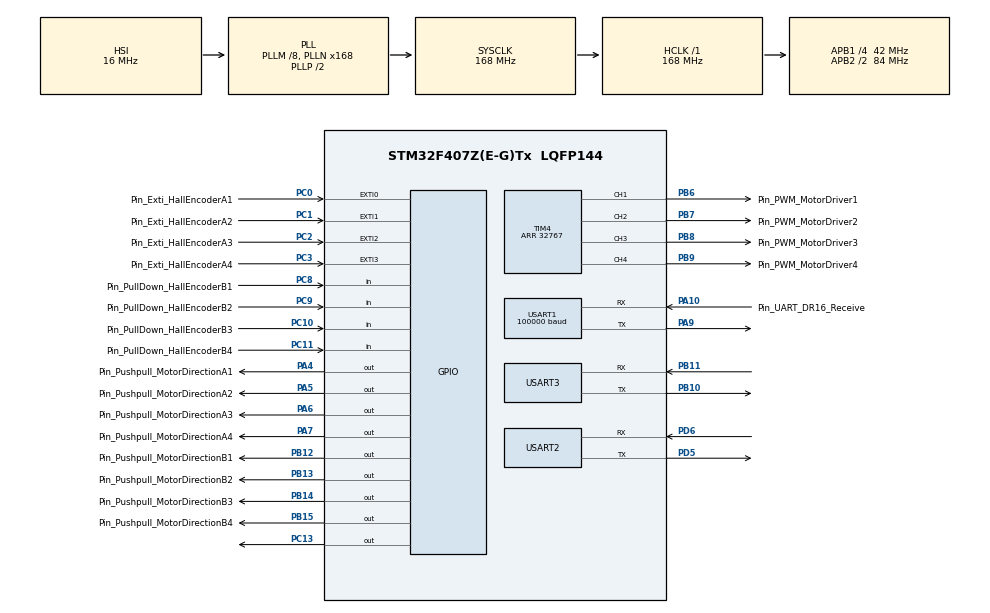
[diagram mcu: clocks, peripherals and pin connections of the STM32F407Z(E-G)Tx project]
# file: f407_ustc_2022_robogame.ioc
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Dma.Request0=USART1_RX
Dma.Request1=USART2_RX
Dma.Request2=USART2_TX
Dma.Request3=USART3_RX
Dma.Request4=USART3_TX
Dma.USART1_RX.0.Direction=DMA_PERIPH_TO_MEMORY
Dma.USART1_RX.0.FIFOMode=DMA_FIFOMODE_DISABLE
Dma.USART1_RX.0.Instance=DMA2_Stream2
Dma.USART1_RX.0.MemDataAlignment=DMA_MDATAALIGN_BYTE
Dma.USART1_RX.0.MemInc=DMA_MINC_ENABLE
Dma.USART1_RX.0.Mode=DMA_CIRCULAR
Dma.USART1_RX.0.PeriphDataAlignment=DMA_PDATAALIGN_BYTE
Dma.USART1_RX.0.PeriphInc=DMA_PINC_DISABLE
Dma.USART1_RX.0.Priority=DMA_PRIORITY_LOW
Dma.USART2_RX.1.Direction=DMA_PERIPH_TO_MEMORY
Dma.USART2_RX.1.FIFOMode=DMA_FIFOMODE_DISABLE
Dma.USART2_RX.1.Instance=DMA1_Stream5
Dma.USART2_RX.1.MemDataAlignment=DMA_MDATAALIGN_BYTE
Dma.USART2_RX.1.MemInc=DMA_MINC_ENABLE
Dma.USART2_RX.1.Mode=DMA_NORMAL
Dma.USART2_RX.1.PeriphDataAlignment=DMA_PDATAALIGN_BYTE
Dma.USART2_RX.1.PeriphInc=DMA_PINC_DISABLE
Dma.USART2_RX.1.Priority=DMA_PRIORITY_LOW
Dma.USART2_TX.2.Direction=DMA_MEMORY_TO_PERIPH
Dma.USART2_TX.2.FIFOMode=DMA_FIFOMODE_DISABLE
Dma.USART2_TX.2.Instance=DMA1_Stream6
Dma.USART2_TX.2.MemDataAlignment=DMA_MDATAALIGN_BYTE
Dma.USART2_TX.2.MemInc=DMA_MINC_ENABLE
Dma.USART2_TX.2.Mode=DMA_NORMAL
Dma.USART2_TX.2.PeriphDataAlignment=DMA_PDATAALIGN_BYTE
Dma.USART2_TX.2.PeriphInc=DMA_PINC_DISABLE
Dma.USART2_TX.2.Priority=DMA_PRIORITY_LOW
Dma.USART3_RX.3.Direction=DMA_PERIPH_TO_MEMORY
Dma.USART3_RX.3.FIFOMode=DMA_FIFOMODE_DISABLE
Dma.USART3_RX.3.Instance=DMA1_Stream1
Dma.USART3_RX.3.MemDataAlignment=DMA_MDATAALIGN_BYTE
Dma.USART3_RX.3.MemInc=DMA_MINC_ENABLE
Dma.USART3_RX.3.Mode=DMA_NORMAL
Dma.USART3_RX.3.PeriphDataAlignment=DMA_PDATAALIGN_BYTE
Dma.USART3_RX.3.PeriphInc=DMA_PINC_DISABLE
Dma.USART3_RX.3.Priority=DMA_PRIORITY_LOW
Dma.USART3_TX.4.Direction=DMA_MEMORY_TO_PERIPH
Dma.USART3_TX.4.FIFOMode=DMA_FIFOMODE_DISABLE
Dma.USART3_TX.4.Instance=DMA1_Stream3
Dma.USART3_TX.4.MemDataAlignment=DMA_MDATAALIGN_BYTE
Dma.USART3_TX.4.MemInc=DMA_MINC_ENABLE
Dma.USART3_TX.4.Mode=DMA_NORMAL
Dma.USART3_TX.4.PeriphDataAlignment=DMA_PDATAALIGN_BYTE
Dma.USART3_TX.4.PeriphInc=DMA_PINC_DISABLE
Dma.USART3_TX.4.Priority=DMA_PRIORITY_LOW
Mcu.Family=STM32F4
Mcu.Name=STM32F407Z(E-G)Tx
Mcu.Package=LQFP144
NVIC.DMA1_Stream1_IRQn=true\:0\:0\:false\:false\:true\:false\:true\:true
NVIC.DMA1_Stream3_IRQn=true\:0\:0\:false\:false\:true\:false\:true\:true
NVIC.DMA1_Stream5_IRQn=true\:0\:0\:false\:false\:true\:false\:true\:true
NVIC.DMA1_Stream6_IRQn=true\:0\:0\:false\:false\:true\:false\:true\:true
NVIC.DMA2_Stream2_IRQn=true\:0\:0\:false\:false\:true\:false\:true\:true
NVIC.EXTI0_IRQn=true\:0\:0\:false\:false\:true\:true\:true\:true
NVIC.EXTI1_IRQn=true\:0\:0\:false\:false\:true\:true\:true\:true
NVIC.EXTI2_IRQn=true\:0\:0\:false\:false\:true\:true\:true\:true
NVIC.EXTI3_IRQn=true\:0\:0\:false\:false\:true\:true\:true\:true
NVIC.PriorityGroup=NVIC_PRIORITYGROUP_4
NVIC.TIM5_IRQn=true\:0\:0\:false\:false\:true\:true\:true\:true
NVIC.USART1_IRQn=true\:0\:0\:false\:false\:true\:true\:true\:true
NVIC.USART2_IRQn=true\:0\:0\:false\:false\:true\:true\:true\:true
NVIC.USART3_IRQn=true\:0\:0\:false\:false\:true\:true\:true\:true
PA10.GPIO_Label=Pin_UART_DR16_Receive
PA10.Mode=Asynchronous
PA10.Signal=USART1_RX
PA13.Mode=Serial_Wire
PA13.Signal=SYS_JTMS-SWDIO
PA14.Mode=Serial_Wire
PA14.Signal=SYS_JTCK-SWCLK
PA4.GPIO_Label=Pin_Pushpull_MotorDirectionA1
PA4.Signal=GPIO_Output
PA5.GPIO_Label=Pin_Pushpull_MotorDirectionA2
PA5.Signal=GPIO_Output
PA6.GPIO_Label=Pin_Pushpull_MotorDirectionA3
PA6.Signal=GPIO_Output
PA7.GPIO_Label=Pin_Pushpull_MotorDirectionA4
PA7.Signal=GPIO_Output
PA9.Mode=Asynchronous
PA9.Signal=USART1_TX
PB10.Mode=Asynchronous
PB10.Signal=USART3_TX
PB11.Mode=Asynchronous
PB11.Signal=USART3_RX
PB12.GPIO_Label=Pin_Pushpull_MotorDirectionB1
PB12.Signal=GPIO_Output
PB13.GPIO_Label=Pin_Pushpull_MotorDirectionB2
PB13.Signal=GPIO_Output
PB14.GPIO_Label=Pin_Pushpull_MotorDirectionB3
PB14.Signal=GPIO_Output
PB15.GPIO_Label=Pin_Pushpull_MotorDirectionB4
PB15.Signal=GPIO_Output
PB6.GPIO_Label=Pin_PWM_MotorDriver1
PB6.Signal=S_TIM4_CH1
PB7.GPIO_Label=Pin_PWM_MotorDriver2
PB7.Signal=S_TIM4_CH2
PB8.GPIO_Label=Pin_PWM_MotorDriver3
PB8.Signal=S_TIM4_CH3
PB9.GPIO_Label=Pin_PWM_MotorDriver4
PB9.Signal=S_TIM4_CH4
PC0.GPIO_Label=Pin_Exti_HallEncoderA1
PC0.GPIO_PuPd=GPIO_PULLDOWN
PC0.Signal=GPXTI0
PC1.GPIO_Label=Pin_Exti_HallEncoderA2
PC1.GPIO_PuPd=GPIO_PULLDOWN
PC1.Signal=GPXTI1
PC10.GPIO_Label=Pin_PullDown_HallEncoderB3
PC10.GPIO_PuPd=GPIO_PULLDOWN
PC10.Signal=GPIO_Input
PC11.GPIO_Label=Pin_PullDown_HallEncoderB4
PC11.GPIO_PuPd=GPIO_PULLDOWN
PC11.Signal=GPIO_Input
PC13-ANTI_TAMP.GPIO_PuPd=GPIO_PULLUP
PC13-ANTI_TAMP.PinState=GPIO_PIN_SET
PC13-ANTI_TAMP.Signal=GPIO_Output
PC14-OSC32_IN.Mode=LSE-External-Oscillator
PC14-OSC32_IN.Signal=RCC_OSC32_IN
PC15-OSC32_OUT.Mode=LSE-External-Oscillator
PC15-OSC32_OUT.Signal=RCC_OSC32_OUT
PC2.GPIO_Label=Pin_Exti_HallEncoderA3
PC2.GPIO_PuPd=GPIO_PULLDOWN
PC2.Signal=GPXTI2
PC3.GPIO_Label=Pin_Exti_HallEncoderA4
PC3.GPIO_PuPd=GPIO_PULLDOWN
PC3.Signal=GPXTI3
PC8.GPIO_Label=Pin_PullDown_HallEncoderB1
PC8.GPIO_PuPd=GPIO_PULLDOWN
PC8.Signal=GPIO_Input
PC9.GPIO_Label=Pin_PullDown_HallEncoderB2
PC9.GPIO_PuPd=GPIO_PULLDOWN
PC9.Signal=GPIO_Input
PD5.Mode=Asynchronous
PD5.Signal=USART2_TX
PD6.Mode=Asynchronous
PD6.Signal=USART2_RX
PH0-OSC_IN.Mode=HSE-External-Oscillator
PH0-OSC_IN.Signal=RCC_OSC_IN
PH1-OSC_OUT.Mode=HSE-External-Oscillator
PH1-OSC_OUT.Signal=RCC_OSC_OUT
ProjectManager.HeapSize=0x200
ProjectManager.StackSize=0x400
ProjectManager.TargetToolchain=MDK-ARM V5.32
RCC.48MHZClocksFreq_Value=84000000
RCC.AHBFreq_Value=168000000
RCC.APB1CLKDivider=RCC_HCLK_DIV4
RCC.APB1Freq_Value=42000000
RCC.APB1TimFreq_Value=84000000
RCC.APB2CLKDivider=RCC_HCLK_DIV2
RCC.APB2Freq_Value=84000000
RCC.APB2TimFreq_Value=168000000
RCC.CortexFreq_Value=168000000
RCC.HCLKFreq_Value=168000000
RCC.HSE_VALUE=25000000
RCC.HSI_VALUE=16000000
RCC.PLLM=8
RCC.PLLN=168
RCC.SYSCLKFreq_VALUE=168000000
RCC.SYSCLKSource=RCC_SYSCLKSOURCE_PLLCLK
RCC.VCOOutputFreq_Value=336000000
SH.S_TIM4_CH1.0=TIM4_CH1,PWM Generation1 CH1
SH.S_TIM4_CH2.0=TIM4_CH2,PWM Generation2 CH2
SH.S_TIM4_CH3.0=TIM4_CH3,PWM Generation3 CH3
SH.S_TIM4_CH4.0=TIM4_CH4,PWM Generation4 CH4
TIM4.AutoReloadPreload=TIM_AUTORELOAD_PRELOAD_ENABLE
TIM4.Channel-PWM\ Generation1\ CH1=TIM_CHANNEL_1
TIM4.Channel-PWM\ Generation2\ CH2=TIM_CHANNEL_2
TIM4.Channel-PWM\ Generation3\ CH3=TIM_CHANNEL_3
TIM4.Channel-PWM\ Generation4\ CH4=TIM_CHANNEL_4
TIM4.Period=32767
TIM5.AutoReloadPreload=TIM_AUTORELOAD_PRELOAD_ENABLE
TIM5.Period=9999
TIM5.Prescaler=41
USART1.BaudRate=100000
USART1.Mode=MODE_RX
USART1.Parity=PARITY_EVEN
USART1.VirtualMode=VM_ASYNC
USART1.WordLength=WORDLENGTH_9B
USART2.VirtualMode=VM_ASYNC
USART3.VirtualMode=VM_ASYNC
VP_TIM5_VS_ClockSourceINT.Mode=Internal
board=custom

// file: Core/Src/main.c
/* USER CODE BEGIN Header */
/**
  ******************************************************************************
  * @file           : main.c
  * @brief          : Main program body
  ******************************************************************************
  * @attention
  *
  * <h2><center>&copy; Copyright (c) 2022 STMicroelectronics.
  * All rights reserved.</center></h2>
  *
  * This software component is licensed by ST under BSD 3-Clause license,
  * the "License"; You may not use this file except in compliance with the
  * License. You may obtain a copy of the License at:
  *                        opensource.org/licenses/BSD-3-Clause
  *
  ******************************************************************************
  */
/* USER CODE END Header */
#include "main.h"
#include "dma.h"
#include "tim.h"
#include "usart.h"
#include "gpio.h"

/* USER CODE BEGIN Includes */

#include "Chassis.hpp"

//#include "drv_bsp.h"
//#include "drv_uart.h"

/* USER CODE END Includes */

/* USER CODE BEGIN PV */

Class_Chassis Chassis;

Class_Sensor Sensor;

uint8_t tx_buffer[9]={0xAB};
uint8_t rx_buffer[10];
uint8_t RxData[16];

/* USER CODE END PV */

void SystemClock_Config(void);
/* USER CODE BEGIN PFP */

/**
 * @brief HAL��UART����DMA�����ж�
 *
 * @param huart UART���??
 * @param Size ����
 */
void Serialplot_Call_Back(uint8_t *Buffer, uint16_t Length)
{
//    if (rx_buffer[0] == '0')
//    {
//        HAL_GPIO_TogglePin(GPIOC, GPIO_PIN_13);
//    }
//    else if (rx_buffer[0] == '1')
//    {
//        HAL_GPIO_TogglePin(GPIOC, GPIO_PIN_13);
//    }
//    else if (rx_buffer[0] == '2')
//    {
//        HAL_GPIO_TogglePin(GPIOC, GPIO_PIN_13);
//    }
}

/* USER CODE END PFP */

int main(void)
{

  /* MCU Configuration--------------------------------------------------------*/

  /* Reset of all peripherals, Initializes the Flash interface and the Systick. */
  HAL_Init();

  /* Configure the system clock */
  SystemClock_Config();

  /* Initialize all configured peripherals */
  MX_GPIO_Init();
  MX_DMA_Init();
  MX_TIM4_Init();
  MX_TIM5_Init();
  MX_USART1_UART_Init();
  MX_USART2_UART_Init();
  MX_USART3_UART_Init();
  /* USER CODE BEGIN 2 */

	HAL_TIM_PWM_Start(&htim4,TIM_CHANNEL_1);													//启动时钟

//	Uart_Init(&huart2, rx_buffer, 10, Serialplot_Call_Back);

  //底盘初始�???
  Chassis.Init(CHASSIS_MOTOR_PWM_DRIVER_TIM, CHASSIS_MOTOR_CALCULATE_TIM);
  Chassis.Set_Control_Method(Control_Method_OPENLOOP);     //Control_Method_OMEGA   OPENLOOP

  //使能计算时钟
  HAL_TIM_Base_Start_IT(&CHASSIS_MOTOR_CALCULATE_TIM);

  //使能遥控器DMA-UART
//  HAL_UART_Receive_DMA(&CHASSIS_DR16_CONTROL_UART, Chassis.DR16.Pack, DR16_PACK_LENGTH);

	HAL_UARTEx_ReceiveToIdle_DMA(&huart3,RxData,16);

  /* USER CODE END 2 */

  /* Infinite loop */
  /* USER CODE BEGIN WHILE */

  SpeedTypeDef v_front=
  {
    0, 0.5, 0,  0,0,0,0
  };
  SpeedTypeDef v_back=
  {
    0, -0.5, 0,  0,0,0,0
  };
  SpeedTypeDef v_right=
  {
    0.5, 0, 0,   0,0,0,0
  };
  SpeedTypeDef v_left=
  {
    -0.8, 0, 0,   0,0,0,0
  };
  SpeedTypeDef v_rotate=
  {
    0, 0, 0.8,    0,0,0,0
  };
  SpeedTypeDef v_crotate=
  {
    0, 0, -1,    0,0,0,0
  };
  SpeedTypeDef v_stop=
  {
    0, 0, 0,    0,0,0,0
  };

//  SpeedTypeDef v_front=
//  {
//    0, 0.5, 0
//  };
//  SpeedTypeDef v_back=
//  {
//    0, -0.5, 0
//  };
//  SpeedTypeDef v_left=
//  {
//    -1.0, 0, 0
//  };
//
//  SpeedTypeDef v_right=
//  {
//    0.8, 0, 0
//  };
//  SpeedTypeDef v_rotate=
//  {
//    0, 0, 0.8
//  };
//
//  SpeedTypeDef v_crotate=
//  {
//    0, 0, -1
//  };
//  SpeedTypeDef v_stop=
//  {
//    0, 0, 0
//  };

//  Chassis.Set_Velocity(v_stop);
//  HAL_Delay(5000);
//  Chassis.Set_Velocity(v_right);
//  HAL_Delay(4000);
//	Chassis.Set_Velocity(v_back);
//  HAL_Delay(4000);
//  Chassis.Set_Velocity(v_stop);
//  HAL_Delay(10000);

//  Chassis.Set_Velocity(v_right);
//  while(1)
//  {
//
//		 if(!Sensor.IsOnTrack(3) && Sensor.IsOnTrack(1))
//		 {

//				break;
//		 }
////     Chassis.Motion_CorrectWhenMovingAtX();
//  }
//		Chassis.Set_Velocity(v_stop);
//		HAL_Delay(2000);
//  while(Sensor.IsOnTrack(1) && !Sensor.IsOnTrack(0))
//  {
//		  Chassis.Set_Velocity(v_back);
//
////    Chassis.Motion_CorrectWhenMovingAtY();
//  }
//  Chassis.Set_Velocity(v_stop);
//	HAL_Delay(10000);

  while (1)
  {

//    Chassis.Set_Velocity(v_stop);
//    HAL_Delay(2000);
//    Chassis.Set_Velocity(v_back);
//    HAL_Delay(6000);
//		Chassis.Set_Velocity(v_stop);
//    HAL_Delay(5000);
//    Chassis.Set_Velocity(v_right);
//    HAL_Delay(2000);
//    Chassis.Set_Velocity(v_rotate);
//    HAL_Delay(2000);
//    Chassis.Set_Velocity(v_crotate);
//    HAL_Delay(2000);
//    Chassis.Set_Velocity(v_left);
//    HAL_Delay(2000);
//    Chassis.Set_Velocity(v_back);
//    HAL_Delay(2000);

//    static uint32_t flag;
//    if (flag == 2500)
//    {
//        flag = 0;
//    }
//    float Omega_Now;
////		float Hall_Encoder_Count;
//    Omega_Now = Chassis.Motor[0].Get_Omega_Now();
////		Hall_Encoder_Count = Chassis.Motor[0].Hall_Encoder_Count;
//    for (uint8_t i = 0; i < 4; i++)
//    {
//        tx_buffer[i + 1] = *((char *)(&Omega_Now) + i);
//    }
//
//		float led_status;
//    led_status = !HAL_GPIO_ReadPin(GPIOC, GPIO_PIN_13);
//    for (uint8_t i = 0; i < 4; i++)
//    {
////        tx_buffer[i + 5] = *((char *)(&Hall_Encoder_Count) + i);
//    }
//
//    flag++;
//    UART_Send_Data(&huart2, tx_buffer, 9);

    /* USER CODE END WHILE */

  }
}

void SystemClock_Config(void)
{
  RCC_OscInitTypeDef RCC_OscInitStruct = {0};
  RCC_ClkInitTypeDef RCC_ClkInitStruct = {0};

  /** Configure the main internal regulator output voltage
  */
  __HAL_RCC_PWR_CLK_ENABLE();
  __HAL_PWR_VOLTAGESCALING_CONFIG(PWR_REGULATOR_VOLTAGE_SCALE1);

  /** Initializes the RCC Oscillators according to the specified parameters
  * in the RCC_OscInitTypeDef structure.
  */
  RCC_OscInitStruct.OscillatorType = RCC_OSCILLATORTYPE_HSI;
  RCC_OscInitStruct.HSIState = RCC_HSI_ON;
  RCC_OscInitStruct.HSICalibrationValue = RCC_HSICALIBRATION_DEFAULT;
  RCC_OscInitStruct.PLL.PLLState = RCC_PLL_ON;
  RCC_OscInitStruct.PLL.PLLSource = RCC_PLLSOURCE_HSI;
  RCC_OscInitStruct.PLL.PLLM = 8;
  RCC_OscInitStruct.PLL.PLLN = 168;
  RCC_OscInitStruct.PLL.PLLP = RCC_PLLP_DIV2;
  RCC_OscInitStruct.PLL.PLLQ = 4;
  if (HAL_RCC_OscConfig(&RCC_OscInitStruct) != HAL_OK)
  {
    Error_Handler();
  }

  /** Initializes the CPU, AHB and APB buses clocks
  */
  RCC_ClkInitStruct.ClockType = RCC_CLOCKTYPE_HCLK|RCC_CLOCKTYPE_SYSCLK
                              |RCC_CLOCKTYPE_PCLK1|RCC_CLOCKTYPE_PCLK2;
  RCC_ClkInitStruct.SYSCLKSource = RCC_SYSCLKSOURCE_PLLCLK;
  RCC_ClkInitStruct.AHBCLKDivider = RCC_SYSCLK_DIV1;
  RCC_ClkInitStruct.APB1CLKDivider = RCC_HCLK_DIV4;
  RCC_ClkInitStruct.APB2CLKDivider = RCC_HCLK_DIV2;

  if (HAL_RCC_ClockConfig(&RCC_ClkInitStruct, FLASH_LATENCY_5) != HAL_OK)
  {
    Error_Handler();
  }
}

/* USER CODE BEGIN 4 */

void HAL_UARTEx_RxEventCallback(UART_HandleTypeDef*huart,uint16_t Size)
{
	if(huart==&huart3)//��Ϊ�ص��������������ڹ��ã�����Ҫ���ж����ĸ�����?
	{
		HAL_UARTEx_ReceiveToIdle_DMA(&huart3,RxData,16);
		for(int j=0;j<16;j++)
			Sensor.track[j]=RxData[j];
		//HAL_UART_Receive_DMA(&huart3,RxData,16);//����һ���µ��ж�ʽ����?
	}
}

/* USER CODE END 4 */

void Error_Handler(void)
{
  __disable_irq();
  while (1)
  {
  }
}
